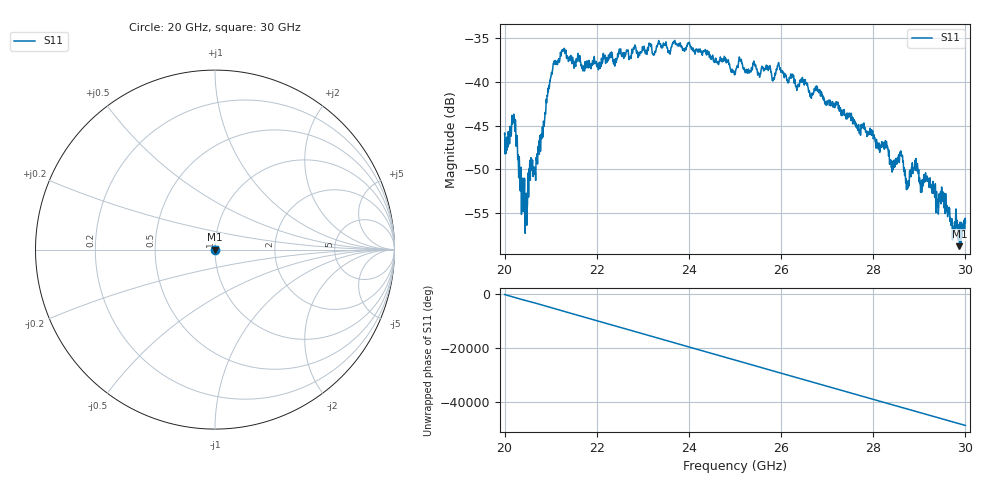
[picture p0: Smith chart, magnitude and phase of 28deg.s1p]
#  HZ  S  RI  R  50.00
! Rohde & Schwarz ZVA40 4Ports - Version 3.90 - 1145.1110k42 SN: 100403
! Date: 2023-10-03 10:34:04
! Measurement: S12
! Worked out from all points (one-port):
!   5001 points, 20 GHz to 30 GHz, reference 50 ohm
!   lowest |S11| = -58.8 dB at 29.87 GHz (marker M1), VSWR 1.00, Z = 50.1 - j0.0351 ohm
!   |S11| at or under -10 dB: start of sweep to end of sweep
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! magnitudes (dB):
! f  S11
! 20 GHz  -46.0
! 20.2 GHz  -43.7
! 20.33 GHz  -51.1
! 20.45 GHz  -54.2
! 20.56 GHz  -51.2
! 20.67 GHz  -50.3
! 20.82 GHz  -45.1
! 21.03 GHz  -39.1
! 21.25 GHz  -36.5
! 21.72 GHz  -38.5
! 22.5 GHz  -36.6
! 23.75 GHz  -35.8
! 25 GHz  -39.0
! 25.12 GHz  -37.6
! 26.25 GHz  -39.1
! 27.5 GHz  -43.9
! 28.27 GHz  -47.5
! 28.42 GHz  -49.1
! 28.6 GHz  -47.9
! 28.75 GHz  -51.5
! 28.94 GHz  -50.1
! 29.04 GHz  -51.8
! 29.15 GHz  -51.2
! 29.4 GHz  -53.4
! 29.5 GHz  -53.6
! 29.71 GHz  -56.4
! 29.87 GHz  -58.8
! 30 GHz  -56.1
